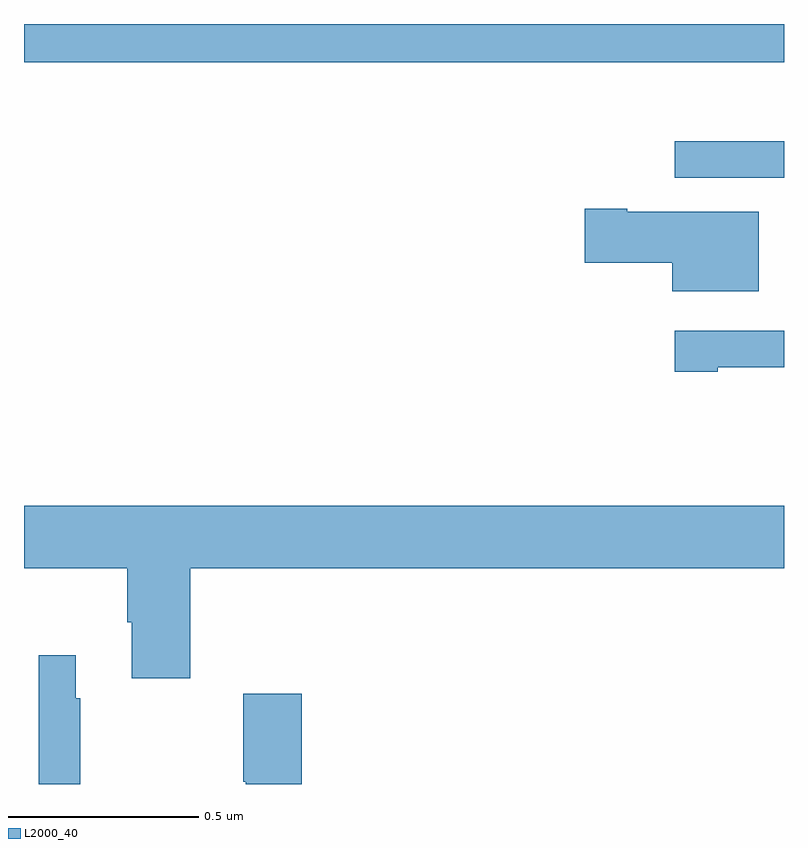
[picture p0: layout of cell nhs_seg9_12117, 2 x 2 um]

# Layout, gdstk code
import gdstk
lib = gdstk.Library(unit=1e-6, precision=1e-09)
def R(c, l, rs):  # rectangles x0, y0, x1, y1
    for r in rs: c.add(gdstk.rectangle(r[:2], r[2:], *l))
def P(c, l, *ps):  # polygons
    for p in ps: c.add(gdstk.Polygon(p, *l))
L2000_40 = (2000, 40)

nhs_seg9_12117 = lib.new_cell('nhs_seg9_12117')
R(nhs_seg9_12117, L2000_40, [(265.713,1216.095,266,1216.191), (264,1216.4,266,1216.5)])
P(nhs_seg9_12117, L2000_40, [(265.933,1216.006),(265.588,1216.006),(265.588,1216.014),(265.476,1216.014),(265.476,1215.872),(265.706,1215.872),(265.706,1215.797),(265.933,1215.797)],
  [(265.825,1215.597),(266,1215.597),(266,1215.693),(265.713,1215.693),(265.713,1215.585),(265.825,1215.585)],
  [(264.437,1215.068),(266,1215.068),(266,1215.232),(264,1215.232),(264,1215.068),(264.272,1215.068),(264.272,1214.926),(264.284,1214.926),(264.284,1214.778),(264.437,1214.778)],
  [(264.148,1214.726),(264.136,1214.726),(264.136,1214.839),(264.039,1214.839),(264.039,1214.5),(264.148,1214.5)],
  [(264.731,1214.737),(264.577,1214.737),(264.577,1214.506),(264.584,1214.506),(264.584,1214.5),(264.731,1214.5)])

lib.write_gds('nhs_seg9_12117.gds')
